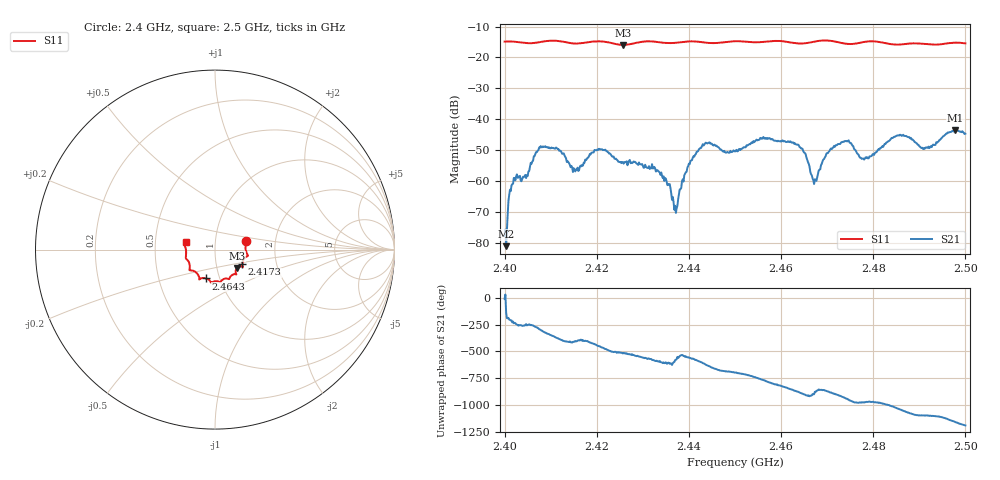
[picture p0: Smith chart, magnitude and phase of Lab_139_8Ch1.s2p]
# Hz S RI R 50
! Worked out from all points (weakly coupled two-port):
!   601 points, 2.4 GHz to 2.5 GHz, reference 50 ohm
!   highest |S21| = -43.47 dB at 2.4978 GHz (marker M1); lowest = -81.0 dB at 2.4003 GHz (marker M2)
!   lowest |S11| = -15.9 dB at 2.4257 GHz (marker M3), VSWR 1.38, Z = 62.4 - j13.1 ohm
!   |S11| at or under -10 dB: start of sweep to end of sweep
!   S12 and S22 are empty: the file has one direction only
!   S11 on the Smith chart (normalised r, x): 2.4 GHz: 1.41, +0.14; 2.4173 GHz: 1.34, -0.23; 2.4643 GHz: 0.86, -0.28; 2.5 GHz: 0.72, +0.06
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2.4e9  0.1737 0.0493  0.00013 -1.99e-05  0 0  0 0
2.400333e9  0.1746 0.048  -6.42e-05 -6.18e-05  0 0  0 0
2.401667e9  0.1758 0.043  -0.000579 0.000686  0 0  0 0
2.407833e9  0.177 -0.0197  0.00187 0.00318  0 0  0 0
2.416667e9  0.1526 -0.0749  0.00147 -0.000926  0 0  0 0
2.417333e9  0.1521 -0.0823  0.00143 -0.00138  0 0  0 0
2.420667e9  0.1546 -0.0968  -0.000175 -0.00325  0 0  0 0
2.425667e9  0.1224 -0.1026  -0.0019 -0.000704  0 0  0 0
2.433333e9  0.1126 -0.1367  -0.000861 0.00118  0 0  0 0
2.437167e9  0.0863 -0.1499  -0.000241 0.00019  0 0  0 0
2.4395e9  0.0802 -0.1618  -0.00139 0.000313  0 0  0 0
2.442667e9  0.0714 -0.1624  -0.00162 0.00306  0 0  0 0
2.45e9  0.0294 -0.181  0.00282 0.00109  0 0  0 0
2.456e9  -0.00699 -0.178  0.00343 -0.00357  0 0  0 0
2.464333e9  -0.0502 -0.1604  -0.00335 -0.0005  0 0  0 0
2.466667e9  -0.0761 -0.1597  -0.00122 0.000237  0 0  0 0
2.4735e9  -0.0939 -0.1411  -0.00382 0.00212  0 0  0 0
2.477667e9  -0.1327 -0.116  -0.000474 0.00227  0 0  0 0
2.483333e9  -0.1405 -0.0895  0.000911 0.00435  0 0  0 0
2.491333e9  -0.1615 -0.0318  0.0033 -0.00116  0 0  0 0
2.497833e9  -0.171 0.0311  0.000884 -0.00665  0 0  0 0
2.5e9  -0.1635 0.042  -0.00227 -0.00542  0 0  0 0
